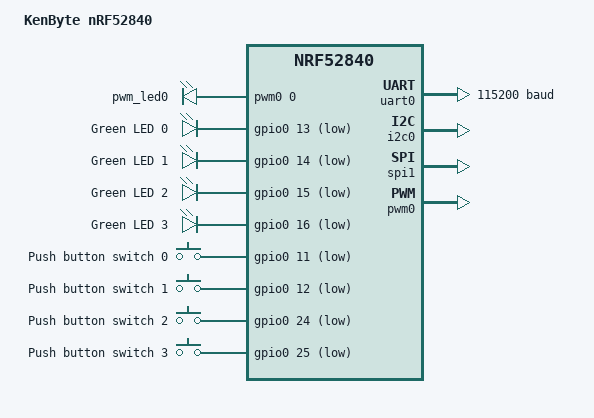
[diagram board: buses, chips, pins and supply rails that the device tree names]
// Copyright (c) 2024 Nordic Semiconductor ASA
// SPDX-License-Identifier: Apache-2.0

/dts-v1/;

#include <nordic/nrf52840_qiaa.dtsi>
#include "kenbyte_nrf52840-pinctrl.dtsi"
/ {
	model = "KenByte nRF52840";
	compatible = "kenbyte,kenbyte-nrf52840";

	chosen {
		zephyr,sram = &sram0;
		zephyr,flash = &flash0;
		zephyr,code-partition = &slot0_partition;
		zephyr,console =  &uart0 ;
		zephyr,shell-uart =  &uart0 ;
		zephyr,uart-mcumgr = &uart0;
	};

	/* These aliases are provided for compatibility with samples */
	aliases {
		led0 = &led0;
		led1 = &led1;
		led2 = &led2;
		led3 = &led3;
		pwm-led0 = &pwm_led0;
		sw0 = &button0;
		sw1 = &button1;
		sw2 = &button2;
		sw3 = &button3;
		bootloader-led0 = &led0;
		mcuboot-button0 = &button0;
		mcuboot-led0 = &led0;
		watchdog0 = &wdt0;
	};
	pwmleds {
		compatible = "pwm-leds";
		pwm_led0: pwm_led_0 {
			pwms = <&pwm0 0 PWM_MSEC(20) PWM_POLARITY_INVERTED>;
		};
	};

	leds {
		compatible = "gpio-leds";
		led0: led_0 {
			label = "Green LED 0";
			gpios = <&gpio0 13 GPIO_ACTIVE_LOW>;
		};
		led1: led_1 {
			label = "Green LED 1";
			gpios = <&gpio0 14 GPIO_ACTIVE_LOW>;
		};
		led2: led_2 {
			label = "Green LED 2";
			gpios = <&gpio0 15 GPIO_ACTIVE_LOW>;
		};
		led3: led_3 {
			label = "Green LED 3";
			gpios = <&gpio0 16 GPIO_ACTIVE_LOW>;
		};
	};

	buttons {
		compatible = "gpio-keys";
		button0: button_0 {
			label = "Push button switch 0";
			gpios = <&gpio0 11 (GPIO_ACTIVE_LOW | GPIO_PULL_UP)>;
		};
		button1: button_1 {
			label = "Push button switch 1";
			gpios = <&gpio0 12 (GPIO_ACTIVE_LOW | GPIO_PULL_UP)>;
		};
		button2: button_2 {
			label = "Push button switch 2";
			gpios = <&gpio0 24 (GPIO_ACTIVE_LOW | GPIO_PULL_UP)>;
		};
		button3: button_3 {
			label = "Push button switch 3";
			gpios = <&gpio0 25 (GPIO_ACTIVE_LOW | GPIO_PULL_UP)>;
		};
	};
};

&flash0 {
	partitions {
		compatible = "fixed-partitions";
		#address-cells = <1>;
		#size-cells = <1>;

		boot_partition: partition@0 {
			label = "mcuboot";
			reg = <0x0 0xc000>;
		};
		slot0_partition: partition@c000 {
			label = "image-0";
			reg = <0xc000 0x72000>;
		};
		slot1_partition: partition@7e000 {
			label = "image-1";
			reg = <0x7e000 0x72000>;
		};
		scratch_partition: partition@f0000 {
			label = "image-scratch";
			reg = <0xf0000 0xa000>;
		};
		storage_partition: partition@fa000 {
			label = "storage";
			reg = <0xfa000 0x6000>;
		};
	};
};


&gpio0 {
		status = "okay";
	};
	
&gpio1 {
		status = "okay";
	};
	
&gpiote {
		status = "okay";
	};


&uart0 {
	status = "okay";
	current-speed = <115200>;
	pinctrl-0 = <&uart0_default>;
	pinctrl-1 = <&uart0_sleep>;
	pinctrl-names = "default", "sleep";
};

&i2c0 {
	status = "okay";
	pinctrl-0 = <&i2c0_default>;
	pinctrl-1 = <&i2c0_sleep>;
	pinctrl-names = "default", "sleep";
};

&spi1 {
    compatible = "nordic,nrf-spim";
    status = "okay";
    pinctrl-0 = <&spi1_default>;
    pinctrl-1 = <&spi1_sleep>;
    pinctrl-names = "default", "sleep";
};

&pwm0 {
	status = "okay";
	pinctrl-0 = <&pwm0_default>;
	pinctrl-1 = <&pwm0_sleep>;
	pinctrl-names = "default", "sleep";
};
